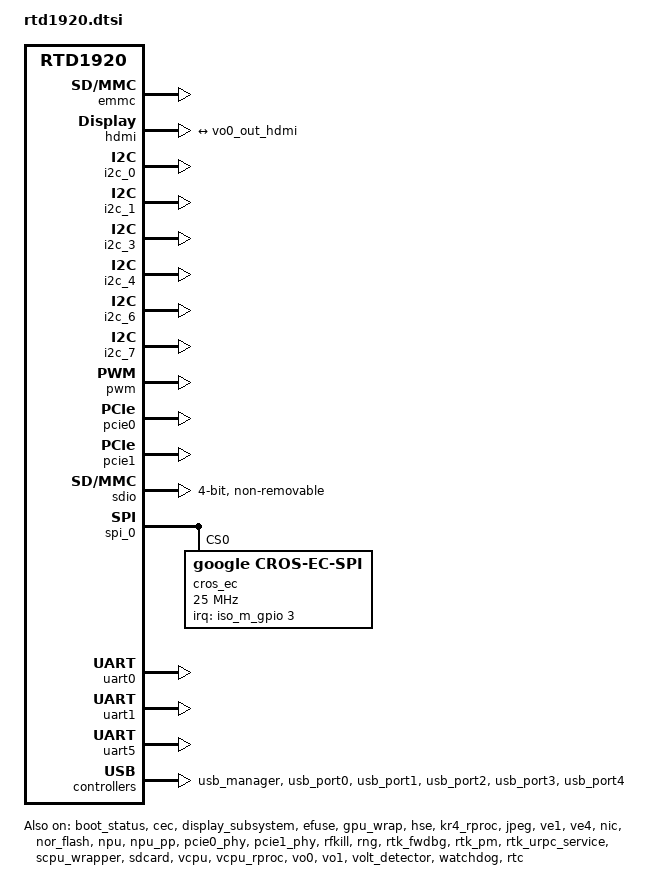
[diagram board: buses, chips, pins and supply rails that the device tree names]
// SPDX-License-Identifier: (GPL-2.0-or-later OR BSD-2-Clause)
/*
 * Realtek RTD1920 SoC
 *
 * Copyright (c) 2024 Realtek Semiconductor Corp.
 */

#include "kent.dtsi"

&boot_status {
	status = "okay";
};

&cec {
	status = "okay";
};

&display_subsystem {
	status = "okay";
	ports = <&vo1_out>, <&vo0_out>, <&vo2_out>;
};

&dp {
	status = "disabled";
	realtek,iso = <&iso>;

	ports {
		#address-cells = <1>;
		#size-cells = <0>;

		dp_in: port@0 {
			reg = <0>;
			dp_in_vo2: endpoint {
				remote-endpoint = <&vo2_out_dp>;
			};
		};

		dp_out: port@1 {
			reg = <1>;
		};
	};
};

&edp {
	status = "disabled";

	ports {
		edp_in: port@0 {
			reg = <0>;
			edp_in_vo1: endpoint {
				remote-endpoint = <&vo1_out_edp>;
			};
		};

		edp_out: port@1 {
			reg = <1>;
			edp_out_panel: endpoint {
				remote-endpoint = <&panel_in_edp>;
			};
		};
	};

	edp_panel: edp_panel {
		compatible = "realtek,rtk-edp-panel";
		status = "disabled";

		port {
			panel_in_edp: endpoint {
				remote-endpoint = <&edp_out_panel>;
			};
		};
	};
};

&efuse {
	status = "okay";
};

&emmc {
	status = "okay";
};

&gpio {
	status = "okay";
};

&gpio_manager {
	status = "okay";
};

&gpu_wrap {
	status = "okay";
};

&hdmi {
	status = "okay";

	ports {
		hdmi_in: port@0 {
			reg = <0>;
			hdmi_in_vo0: endpoint {
				remote-endpoint = <&vo0_out_hdmi>;
			};
		};
	};
};

&hifi_rpmsg {
        /delete-property/ rproc;
};

&hse {
	status = "okay";
};

&i2c_0 {
	status = "okay";
};

&i2c_1 {
	status = "okay";
};

&i2c_3 {
	status = "okay";
};

&i2c_4 {
	status = "okay";
};

&i2c_6 {
	pinctrl-0 = <&i2c6_loc1_pins>, <&i2c6_loc1_sel_pins>;
	status = "okay";
};

&i2c_7 {
	status = "okay";
};

&iso_m_gpio {
	status = "okay";
};

&kr4_rproc {
	status = "okay";
};

&pwm {
	num-pwm = <5>;
	status = "okay";
};

&jpeg {
	status = "okay";
};

&ve1 {
	status = "okay";
};

&ve4 {
	status = "okay";
};

&nic {
	pinctrl-0 = <&etn_led_loc1_pins>;
	pinctrl-1 = <&etn_led_loc1_pins>;
	pinctrl-2 = <&etn_gpio_loc1_pins>;
	phy-ctrl-loc = <1>; /* 0: loc0, 1: loc1 */
	status = "okay";
};

&nor_flash {
	status = "okay";
};

&npu {
	status = "okay";
};

&npu_pp {
	status = "okay";
};

&pcie0 {
	status = "okay";
};

&pcie0_phy {
	status = "okay";
};

&pcie1 {
	status = "okay";
};

&pcie1_phy {
	status = "okay";
};

&power_ac {
	status = "okay";
};

&regulator_vcc1v8{
	status = "okay";
};

&reserved_memory {
	protected_mem: protected-mem@50000 {
		status = "disabled";
	};

	metadata: metadata@c40000 {
		status = "disabled";
	};

	riscv_fw: riscv-fw@5000000 {
		reg = <0x0 0x05000000 0x0 0x00600000>;  /* riscv FW 6MB */
		no-map;
	};

	tee: tee@10000000 {
		status = "disabled";
	};

	bl31_mem: bl31-mem@10001000 {
		reg = <0x0 0x10001000 0x0 0x40000>;
		no-map;
	};

	bootlogo_reserved: buffer@2f700000 {
		status = "disabled";
	};

	default_cma: default-cma {
		status = "disabled";
	};

	cma_reserved_0:linux,cma {
		compatible = "shared-dma-pool";
		alignment = <0x0 0x00400000>;
		/* Avoid crossing A/VCPU PA2VA per 512M boundary */
		/* Avoid allocating 0x1fc00000 ~ 0x1fc00fff to LX CPU (A/VCPU/VE3) */
		alloc-ranges=<0x0 0x40000000 0x0 0x20000000>;
		size = <0x0 0x20000000>; /* 512M */
		linux,cma-default;
		reusable;
	};

	cma_reserved_1:linux,cma_1 {
		compatible = "shared-dma-pool";
		alignment = <0x0 0x00400000>;
		/* Avoid crossing A/VCPU PA2VA per 512M boundary */
		/* Avoid allocating 0x1fc00000 ~ 0x1fc00fff to LX CPU (A/VCPU/VE3) */
		/* Avoid allocating 0x40000000 to VCPU */
		alloc-ranges=<0x0 0x40400000 0x0 0x1fc00000>;
		size = <0x0 0x1fc00000>; /* 508M */
		reusable;
	};

	cma_reserved_2:linux,cma_2 {
		compatible = "shared-dma-pool";
		alignment = <0x0 0x00400000>;
		/* Avoid crossing A/VCPU PA2VA per 512M boundary */
		/* Avoid allocating 0x1fc00000 ~ 0x1fc00fff to LX CPU (A/VCPU/VE3) */
		/* Avoid allocating 0x80000000 ~ 0xa0000000 to RISC-V/HIFI RBUS uncached region */
		alloc-ranges=<0x0 0xa0000000 0x0 0x60000000>;
		size = <0x0 0x50000000>; /* 1280M */
		reusable;
	};
};

&rfkill {
	status = "okay";
};

&rng {
	status = "okay";
};

&rtk_fwdbg {
	status = "okay";
};

&rtk_pm {
	wakeup-flags = <PCPU_V2_CHROME_MODE>;
	wakeup-timer = <15>;
	status = "okay";
};

&rtk_urpc_service {
	status = "okay";
};

&sb2 {
	vcpu_rpmsg: vcpu-rpmsg {
		vcpu-intr-channel {
			memory-region = <&cma_reserved_0>;
		};
	};
};

&scpu_wrapper {
	status = "okay";
};

&sdcard {
	bus-width = <4>;
	cap-sd-highspeed;
	cap-mmc-highspeed;
	sd-uhs-sdr12;
	sd-uhs-sdr25;
	sd-uhs-sdr50;
	sd-uhs-sdr104;
	cd-inverted;
	status = "okay";
};

&sdio {
	bus-width = <4>;
	cap-sd-highspeed;
	cap-mmc-highspeed;
	sd-uhs-sdr12;
	sd-uhs-sdr25;
	sd-uhs-sdr50;
	sd-uhs-sdr104;
	keep-power-in-suspend;
	non-removable;
	status = "okay";
};

&spi_0 {
	status = "okay";

	cros_ec: ec@0 {
		compatible = "google,cros-ec-spi";
		reg = <0>;
		pinctrl-names = "default";
		pinctrl-0 = <&ec_pins>;
		interrupt-parent = <&iso_m_gpio>;
		interrupts = <3 IRQ_TYPE_LEVEL_LOW>;
		spi-max-frequency = <25000000>;

		i2c_tunnel: i2c-tunnel {
			compatible = "google,cros-ec-i2c-tunnel";
			google,remote-bus = <1>;
			#address-cells = <1>;
			#size-cells = <0>;
			status = "okay";
		};

		ec_typec: typec {
			compatible = "google,cros-ec-typec";
			#address-cells = <1>;
			#size-cells = <0>;

			usb_c0: connector@0 {
				compatible = "usb-c-connector";
				reg = <0>;
				label = "left";
				power-role = "dual";
				data-role = "host";
				try-power-role = "source";
				status = "okay";

				ports {
					#address-cells = <1>;
					#size-cells = <0>;

					port@1 {
						reg = <1>;

						typec_port0: endpoint { };
					};
				};
			};
		};

		usbc_extcon0: extcon0 {
			compatible = "google,extcon-usbc-cros-ec";
			google,usb-port-id = <0>;
		};
	};
};

&uart0 {
	status = "okay";
};

&uart1 {
	status = "okay";
};

&uart5 {
	status = "okay";
};

&usb_manager {
	status = "okay";
};

&usb_port0 {
	realtek,power-gpio = <&gpio 63 GPIO_ACTIVE_LOW>;
	status = "okay";

	dwc3@20000 {
		role-switch-default-mode = "host"; /* host, peripheral*/
	};
};

&usb_port1 {
	//realtek,power-gpio = <&gpio 62 GPIO_ACTIVE_LOW>;
	status = "okay";
};

&usb_port2 {
	realtek,power-gpio = <&gpio 62 GPIO_ACTIVE_LOW>;
	status = "okay";
};

&usb_port3 {
	//realtek,power-gpio = <&gpio 62 GPIO_ACTIVE_LOW>;
	status = "okay";
};

&usb_port4 {
	realtek,power-gpio = <&gpio 62 GPIO_ACTIVE_LOW>;
	status = "okay";
};

&usb1_u3phy {
	realtek,type-c = <&usbc_extcon0>;
};

/delete-node/&type_c;

&vcpu {
	status = "okay";
};

&vcpu_rproc {
	status = "okay";
};

&vo0 {
	status = "okay";

	vo0_out: port {
		vo0_out_hdmi: endpoint@0 {
			remote-endpoint = <&hdmi_in_vo0>;
		};
	};
};

&vo1 {
	status = "okay";

	vo1_out: port {
		vo1_out_edp: endpoint {
			remote-endpoint = <&edp_in_vo1>;
		};
	};
};

&vo2 {
	status = "disabled";

	vo2_out: port {
		vo2_out_dp: endpoint {
			remote-endpoint = <&dp_in_vo2>;
		};
	};
};

&volt_detector {
	status = "okay";
};

&watchdog {
	realtek,ov-rstb-oe-init = <1>;
	realtek,ov-rstb-oe = <1>;
	status = "okay";
};

&rtc {
	status = "okay";
};

#include <arm/cros-ec-keyboard.dtsi>
#include <arm/cros-ec-sbs.dtsi>
